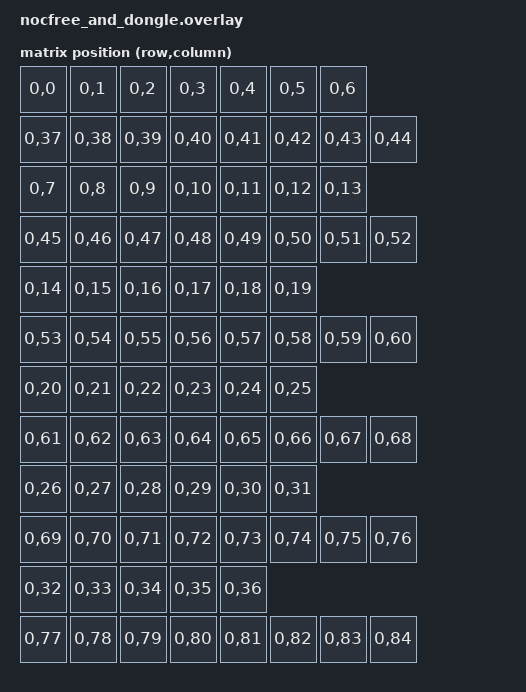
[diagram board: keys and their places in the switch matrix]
/*
 * SPDX-License-Identifier: MIT
 *
 * Keyless ZMK split central for NocFree & JIS.
 */
#include <dt-bindings/zmk/matrix_transform.h>
#include "nocfree_and-layouts.dtsi"

/ {
    chosen {
        zmk,kscan = &mock_kscan;
        zmk,physical-layout = &ansi_layout;
    };

    /*
     * This must be identical to the JIS transform on both NocFree halves.
     * Global positions 0-36 originate on the left and 37-84 on the right.
     */
    matrix_transform0: keymap_transform_0 {
        compatible = "zmk,matrix-transform";
        rows = <1>;
        columns = <85>;
        map = <
            /* Function row */
            RC(0,0)  RC(0,1)  RC(0,2)  RC(0,3)  RC(0,4)  RC(0,5)  RC(0,6)
            RC(0,37) RC(0,38) RC(0,39) RC(0,40) RC(0,41) RC(0,42) RC(0,43) RC(0,44)
            /* Number row */
            RC(0,7)  RC(0,8)  RC(0,9)  RC(0,10) RC(0,11) RC(0,12) RC(0,13)
            RC(0,45) RC(0,46) RC(0,47) RC(0,48) RC(0,49) RC(0,50) RC(0,51) RC(0,52)
            /* Tab row */
            RC(0,14) RC(0,15) RC(0,16) RC(0,17) RC(0,18) RC(0,19)
            RC(0,53) RC(0,54) RC(0,55) RC(0,56) RC(0,57) RC(0,58) RC(0,59) RC(0,60)
            /* Home row */
            RC(0,20) RC(0,21) RC(0,22) RC(0,23) RC(0,24) RC(0,25)
            RC(0,61) RC(0,62) RC(0,63) RC(0,64) RC(0,65) RC(0,66) RC(0,67) RC(0,68)
            /* Shift row */
            RC(0,26) RC(0,27) RC(0,28) RC(0,29) RC(0,30) RC(0,31)
            RC(0,69) RC(0,70) RC(0,71) RC(0,72) RC(0,73) RC(0,74) RC(0,75) RC(0,76)
            /* Bottom row */
            RC(0,32) RC(0,33) RC(0,34) RC(0,35) RC(0,36)
            RC(0,77) RC(0,78) RC(0,79) RC(0,80) RC(0,81) RC(0,82) RC(0,83) RC(0,84)
        >;
    };

    /* The USB dongle has no physical keys of its own. */
    mock_kscan: mock_kscan_0 {
        compatible = "zmk,kscan-mock";
        columns = <0>;
        rows = <0>;
        events = <0>;
    };
};
